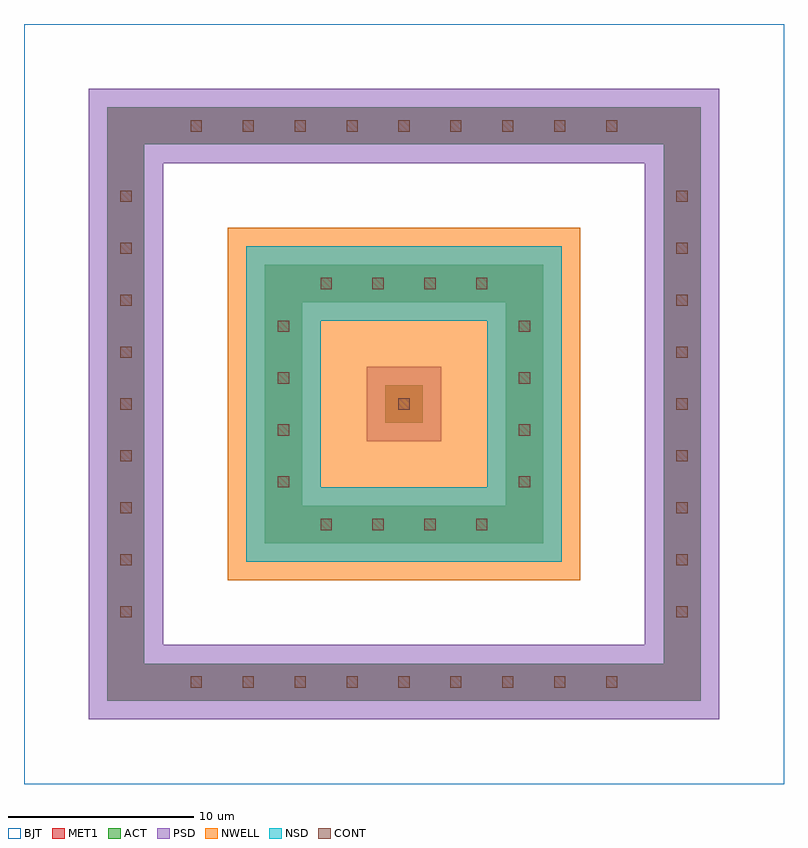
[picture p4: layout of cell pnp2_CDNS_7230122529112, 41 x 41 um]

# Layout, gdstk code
from math import pi, radians
import gdstk
lib = gdstk.Library(unit=1e-6, precision=1e-09)
def R(c, l, rs):  # rectangles x0, y0, x1, y1
    for r in rs: c.add(gdstk.rectangle(r[:2], r[2:], *l))
def A(c, l, x, y, w, h, nx, ny, dx, dy):  # array of equal rectangles
    R(c, l, [(x+i*dx, y+j*dy, x+i*dx+w, y+j*dy+h) for i in range(nx) for j in range(ny)])
def P(c, l, *ps):  # polygons
    for p in ps: c.add(gdstk.Polygon(p, *l))
NWELL = (2, 0)
ACT = (11, 0)
NSD = (14, 0)
PSD = (15, 0)
CONT = (31, 0)
MET1 = (32, 0)
BJT = (56, 0)

ntap_cdns_7230122529113 = lib.new_cell('ntap_CDNS_7230122529113')
R(ntap_cdns_7230122529113, ACT, [(0.5,0.5,2.3,11.3)])
A(ntap_cdns_7230122529113, CONT, 1.1, 1.4, 0.6, 0.6, 1, 4, 0, 2.8)
R(ntap_cdns_7230122529113, MET1, [(0.4,0.4,2.4,11.4)])

ptap_cdns_7230122529114 = lib.new_cell('ptap_CDNS_7230122529114')
R(ptap_cdns_7230122529114, ACT, [(0.5,0.5,2.3,26.3)])
A(ptap_cdns_7230122529114, CONT, 1.1, 1.9, 0.6, 0.6, 1, 9, 0, 2.8)
R(ptap_cdns_7230122529114, MET1, [(0.4,0.4,2.4,26.4)])

ptap_cdns_7230122529115 = lib.new_cell('ptap_CDNS_7230122529115')
R(ptap_cdns_7230122529115, ACT, [(0.5,0.5,2.3,2.3)])
R(ptap_cdns_7230122529115, CONT, [(1.1,1.1,1.7,1.7)])
R(ptap_cdns_7230122529115, MET1, [(0.4,0.4,2.4,2.4)])

pnp2_cdns_7230122529112 = lib.new_cell('pnp2_CDNS_7230122529112')
R(pnp2_cdns_7230122529112, NWELL, [(11,11,30,30)])
R(pnp2_cdns_7230122529112, ACT, [(19.5,19.5,21.5,21.5)])
P(pnp2_cdns_7230122529112, ACT, [(13,13),(13,24.83),(15,24.83),(15,15),(26,15),(26,26),(15,26),(15,24.83),(13,24.83),(13,28),(28,28),(28,13)],
  [(4.5,4.5),(4.5,29.71),(6.5,29.71),(6.5,6.5),(34.5,6.5),(34.5,34.5),(6.5,34.5),(6.5,29.71),(4.5,29.71),(4.5,36.5),(36.5,36.5),(36.5,4.5)])
P(pnp2_cdns_7230122529112, NSD, [(12,12),(12,29),(25,29),(25,25),(16,25),(16,16),(25,16),(25,29),(29,29),(29,12)])
R(pnp2_cdns_7230122529112, PSD, [(18.5,18.5,22.5,22.5)])
P(pnp2_cdns_7230122529112, PSD, [(3.5,3.5),(3.5,37.5),(33.5,37.5),(33.5,33.5),(7.5,33.5),(7.5,7.5),(33.5,7.5),(33.5,37.5),(37.5,37.5),(37.5,3.5)])
R(pnp2_cdns_7230122529112, MET1, [(19.5,19.5,21.5,21.5)])
P(pnp2_cdns_7230122529112, MET1, [(13,13),(13,28),(26,28),(26,26),(15,26),(15,15),(26,15),(26,28),(28,28),(28,13)],
  [(4.5,4.5),(4.5,36.5),(34.5,36.5),(34.5,34.5),(6.5,34.5),(6.5,6.5),(34.5,6.5),(34.5,36.5),(36.5,36.5),(36.5,4.5)])
R(pnp2_cdns_7230122529112, BJT, [(0,0,41,41)])
pnp2_cdns_7230122529112.add(gdstk.Reference(ntap_cdns_7230122529113, (12.6,14.6)))
pnp2_cdns_7230122529112.add(gdstk.Reference(ntap_cdns_7230122529113, (14.6,12.6), rotation=pi/2, x_reflection=True))
pnp2_cdns_7230122529112.add(gdstk.Reference(ntap_cdns_7230122529113, (14.6,25.6), rotation=pi/2, x_reflection=True))
pnp2_cdns_7230122529112.add(gdstk.Reference(ntap_cdns_7230122529113, (25.6,14.6)))
pnp2_cdns_7230122529112.add(gdstk.Reference(ptap_cdns_7230122529114, (34.1,7.1)))
pnp2_cdns_7230122529112.add(gdstk.Reference(ptap_cdns_7230122529114, (7.1,34.1), rotation=pi/2, x_reflection=True))
pnp2_cdns_7230122529112.add(gdstk.Reference(ptap_cdns_7230122529114, (4.1,7.1)))
pnp2_cdns_7230122529112.add(gdstk.Reference(ptap_cdns_7230122529114, (7.1,4.1), rotation=pi/2, x_reflection=True))
pnp2_cdns_7230122529112.add(gdstk.Reference(ptap_cdns_7230122529115, (19.1,19.1)))

lib.write_gds('pnp2_CDNS_7230122529112.gds')
